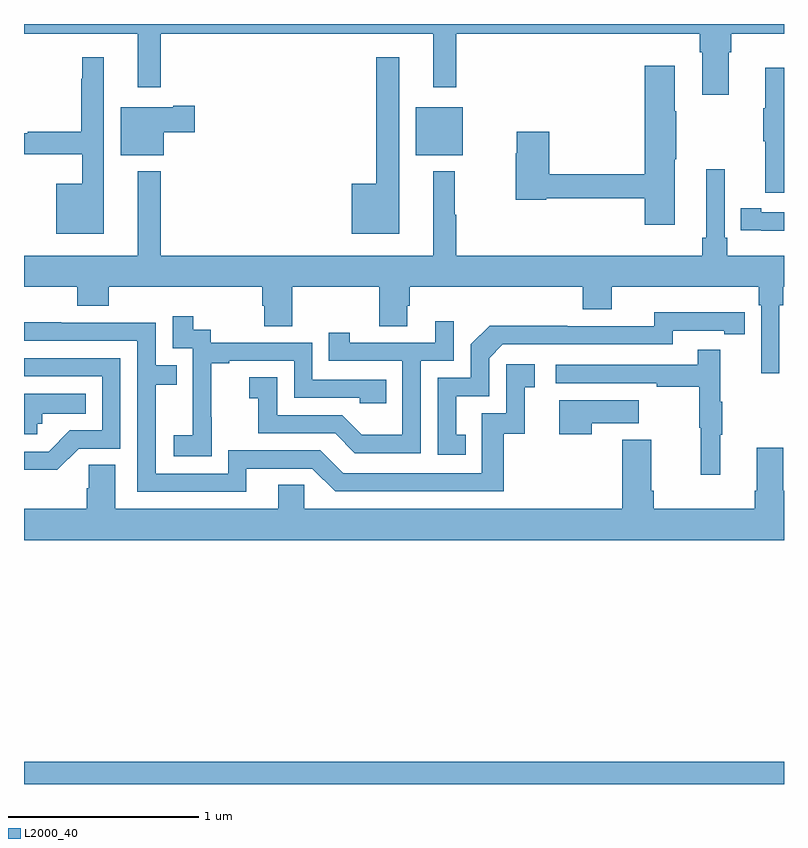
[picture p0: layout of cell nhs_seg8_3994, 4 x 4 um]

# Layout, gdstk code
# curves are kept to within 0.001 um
import gdstk
lib = gdstk.Library(unit=1e-6, precision=1e-09)
def R(c, l, rs):  # rectangles x0, y0, x1, y1
    for r in rs: c.add(gdstk.rectangle(r[:2], r[2:], *l))
def P(c, l, *ps):  # polygons
    for p in ps: c.add(gdstk.Polygon(p, *l))
L2000_40 = (2000, 40)

nhs_seg8_3994 = lib.new_cell('nhs_seg8_3994')
R(nhs_seg8_3994, L2000_40, [(357,1097.9,361,1098.016), (359.063,1101.209,359.308,1101.463)])
P(nhs_seg8_3994, L2000_40, [(360.709,1101.752),(360.722,1101.752),(360.722,1101.848),(361,1101.848),(361,1101.9),(357,1101.9),(357,1101.848),(357.599,1101.848),(357.599,1101.567),(357.721,1101.567),(357.721,1101.848),(359.153,1101.848),(359.153,1101.567),(359.275,1101.567),(359.275,1101.848),(360.557,1101.848),(360.557,1101.752),(360.569,1101.752),(360.569,1101.528),(360.709,1101.528)],
  [(358.975,1101.724),(358.854,1101.724),(358.854,1101.058),(358.724,1101.058),(358.724,1100.795),(358.975,1100.795)],
  [(357.421,1101.724),(357.307,1101.724),(357.307,1101.611),(357.3,1101.611),(357.3,1101.332),(357.021,1101.332),(357.021,1101.325),(357,1101.325),(357,1101.215),(357.307,1101.215),(357.307,1101.058),(357.17,1101.058),(357.17,1100.795),(357.421,1100.795)],
  [(360.424,1101.187),(360.432,1101.187),(360.432,1101.44),(360.424,1101.44),(360.424,1101.679),(360.266,1101.679),(360.266,1101.11),(359.765,1101.11),(359.765,1101.334),(359.594,1101.334),(359.594,1101.221),(359.587,1101.221),(359.587,1100.974),(359.748,1100.974),(359.748,1100.982),(360.266,1100.982),(360.266,1100.844),(360.424,1100.844)],
  [(361,1101.67),(360.902,1101.67),(360.902,1101.457),(360.891,1101.457),(360.891,1101.283),(360.902,1101.283),(360.902,1101.012),(361,1101.012)],
  [(357.736,1101.329),(357.898,1101.329),(357.898,1101.471),(357.785,1101.471),(357.785,1101.463),(357.509,1101.463),(357.509,1101.209),(357.736,1101.209)],
  [(361,1100.91),(360.88,1100.91),(360.88,1100.93),(360.772,1100.93),(360.772,1100.814),(360.88,1100.814),(360.88,1100.813),(361,1100.813)],
  [(360.59,1101.136),(360.59,1100.776),(360.571,1100.776),(360.571,1100.68),(359.275,1100.68),(359.275,1100.897),(359.267,1100.897),(359.267,1101.124),(359.153,1101.124),(359.153,1100.68),(357.721,1100.68),(357.721,1101.124),(357.599,1101.124),(357.599,1100.68),(357,1100.68),(357,1100.516),(357.281,1100.516),(357.281,1100.417),(357.446,1100.417),(357.446,1100.516),(358.253,1100.516),(358.253,1100.418),(358.265,1100.418),(358.265,1100.308),(358.413,1100.308),(358.413,1100.516),(358.87,1100.516),(358.87,1100.308),(359.017,1100.308),(359.017,1100.418),(359.03,1100.418),(359.03,1100.516),(359.942,1100.516),(359.942,1100.399),(360.094,1100.399),(360.094,1100.516),(360.866,1100.516),(360.866,1100.42),(360.879,1100.42),(360.879,1100.061),(360.976,1100.061),(360.976,1100.42),(360.995,1100.42),(360.995,1100.516),(361,1100.516),(361,1100.68),(360.701,1100.68),(360.701,1100.776),(360.687,1100.776),(360.687,1101.136)],
  [(359.324,1099.737),(359.275,1099.737),(359.275,1099.941),(359.448,1099.941),(359.448,1100.142),(359.52,1100.214),(360.414,1100.214),(360.414,1100.286),(360.686,1100.286),(360.686,1100.266),(360.794,1100.266),(360.794,1100.382),(360.318,1100.383),(360.318,1100.31),(359.858,1100.31),(359.858,1100.312),(359.45,1100.312),(359.352,1100.214),(359.352,1100.037),(359.178,1100.037),(359.178,1099.632),(359.324,1099.632)],
  [(357.987,1099.831),(357.986,1099.831),(357.986,1100.115),(358.081,1100.115),(358.081,1100.127),(358.422,1100.127),(358.422,1099.932),(358.767,1099.932),(358.767,1099.905),(358.907,1099.905),(358.907,1100.028),(358.518,1100.028),(358.518,1100.223),(357.984,1100.223),(357.984,1100.292),(357.892,1100.292),(357.892,1100.362),(357.783,1100.362),(357.783,1100.193),(357.888,1100.193),(357.888,1099.964),(357.887,1099.964),(357.887,1099.735),(357.789,1099.735),(357.789,1099.625),(357.987,1099.625)],
  [(359.088,1100.127),(359.262,1100.127),(359.262,1100.335),(359.165,1100.335),(359.165,1100.223),(358.714,1100.223),(358.714,1100.275),(358.603,1100.275),(358.603,1100.127),(358.992,1100.127),(358.992,1099.738),(358.778,1099.738),(358.674,1099.842),(358.332,1099.842),(358.332,1100.041),(358.185,1100.041),(358.185,1099.931),(358.234,1099.931),(358.234,1099.746),(358.637,1099.746),(358.742,1099.641),(359.088,1099.641)],
  [(358.171,1099.56),(358.518,1099.56),(358.638,1099.44),(359.525,1099.44),(359.525,1099.743),(359.636,1099.743),(359.636,1099.989),(359.689,1099.989),(359.689,1100.11),(359.538,1100.11),(359.538,1099.851),(359.409,1099.851),(359.409,1099.536),(358.68,1099.536),(358.56,1099.656),(358.074,1099.656),(358.074,1099.533),(357.693,1099.533),(357.693,1100.002),(357.803,1100.002),(357.803,1100.103),(357.693,1100.103),(357.693,1100.328),(357.197,1100.328),(357.197,1100.33),(357,1100.33),(357,1100.232),(357.597,1100.232),(357.597,1099.437),(358.171,1099.437)],
  [(360.665,1099.739),(360.676,1099.739),(360.676,1099.913),(360.665,1099.913),(360.665,1100.185),(360.547,1100.185),(360.547,1100.106),(359.799,1100.106),(359.799,1100.01),(360.331,1100.01),(360.331,1099.99),(360.555,1099.99),(360.555,1099.776),(360.562,1099.776),(360.562,1099.527),(360.665,1099.527)],
  [(357.288,1099.665),(357.507,1099.665),(357.507,1100.142),(357,1100.142),(357,1100.046),(357.411,1100.046),(357.411,1099.761),(357.242,1099.761),(357.131,1099.65),(357,1099.65),(357,1099.553),(357.175,1099.553)],
  [(357.069,1099.797),(357.096,1099.797),(357.096,1099.85),(357.326,1099.85),(357.326,1099.954),(357,1099.954),(357,1099.742),(357.069,1099.742)],
  [(359.987,1099.799),(360.235,1099.799),(360.235,1099.921),(359.816,1099.921),(359.816,1099.74),(359.987,1099.74)],
  [(361,1099.444),(360.997,1099.444),(360.997,1099.669),(360.857,1099.669),(360.857,1099.444),(360.845,1099.444),(360.845,1099.348),(360.314,1099.348),(360.314,1099.444),(360.301,1099.444),(360.301,1099.711),(360.149,1099.711),(360.149,1099.348),(358.476,1099.348),(358.476,1099.475),(358.337,1099.475),(358.337,1099.348),(357.481,1099.348),(357.481,1099.58),(357.342,1099.58),(357.342,1099.457),(357.329,1099.457),(357.329,1099.348),(357,1099.348),(357,1099.184),(361,1099.184)])

lib.write_gds('nhs_seg8_3994.gds')
